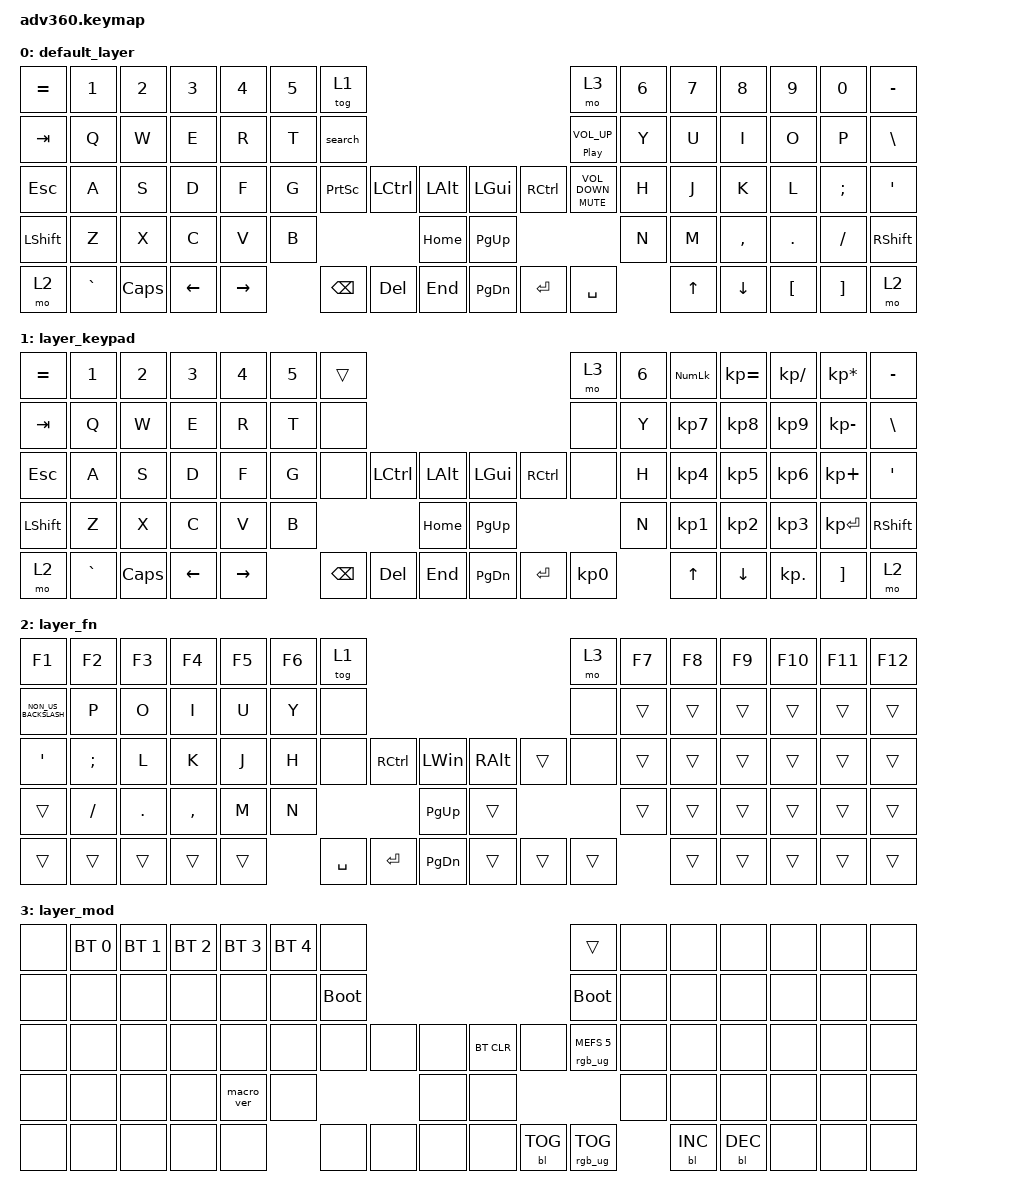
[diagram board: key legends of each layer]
/*
 * Copyright (c) 2020 The ZMK Contributors
 *
 * SPDX-License-Identifier: MIT
 */
/* THIS FILE WAS GENERATED!
 *
 * This file was generated automatically. You may or may not want to
 * edit it directly.
 */

#include <behaviors.dtsi>
#include <dt-bindings/zmk/backlight.h>
#include <dt-bindings/zmk/bt.h>
#include <dt-bindings/zmk/keys.h>
#include <dt-bindings/zmk/keys.h>
#include <dt-bindings/zmk/rgb.h>

/ {
    behaviors {
        #include "macros.dtsi"
    #include "version.dtsi"

        hm: homerow_mods {
            compatible = "zmk,behavior-hold-tap";
            label = "HOMEROW_MODS";
            #binding-cells = <2>;
            tapping-term-ms = <200>;
            quick_tap_ms = <175>;
            flavor = "tap-preferred";
            bindings = <&kp>, <&kp>;
        };

        mtl: moment_toggle {
            compatible = "zmk,behavior-hold-tap";
            label = "MOMENT_TOGGLE";
            bindings = <&mo>, <&tog>;

            #binding-cells = <2>;
            tapping-term-ms = <200>;
            flavor = "balanced";
        };
    };

    macros {
        search: search {
            compatible = "zmk,behavior-macro";
            #binding-cells = <0>;
            bindings = <&kt LCTRL &kt LEFT_WIN &kp GRAVE &kt LCTRL &kt LEFT_WIN>;
            label = "SEARCH";
        };
    };

    keymap {
        compatible = "zmk,keymap";

        default_layer {
            bindings = <
&kp EQUAL  &kp N1     &kp N2    &kp N3    &kp N4     &kp N5  &tog 1                                                          &mo 3                         &kp N6  &kp N7  &kp N8     &kp N9    &kp N0    &kp MINUS
&kp TAB    &kp Q      &kp W     &kp E     &kp R      &kp T   &search                                                         &hm C_PLAY_PAUSE C_VOLUME_UP  &kp Y   &kp U   &kp I      &kp O     &kp P     &kp BSLH
&kp ESC    &kp A      &kp S     &kp D     &kp F      &kp G   &kp PRINTSCREEN  &kp LCTRL  &kp LALT      &kp LGUI   &kp RCTRL  &hm C_MUTE C_VOLUME_DOWN      &kp H   &kp J   &kp K      &kp L     &kp SEMI  &kp SQT
&kp LSHFT  &kp Z      &kp X     &kp C     &kp V      &kp B                               &kp HOME      &kp PG_UP                                           &kp N   &kp M   &kp COMMA  &kp DOT   &kp FSLH  &kp RSHFT
&mo 2      &kp GRAVE  &kp CAPS  &kp LEFT  &kp RIGHT          &kp BSPC         &kp DEL    &kp END       &kp PG_DN  &kp ENTER  &kp SPACE                             &kp UP  &kp DOWN   &kp LBKT  &kp RBKT  &mo 2
            >;
        };

        layer_keypad {
            bindings = <
&kp EQUAL  &kp N1     &kp N2    &kp N3    &kp N4     &kp N5  &trans                                                   &mo 3      &kp N6  &kp KP_NUM  &kp KP_EQUAL  &kp KP_DIVIDE  &kp KP_MULTIPLY  &kp MINUS
&kp TAB    &kp Q      &kp W     &kp E     &kp R      &kp T   &none                                                    &none      &kp Y   &kp KP_N7   &kp KP_N8     &kp KP_N9      &kp KP_MINUS     &kp BSLH
&kp ESC    &kp A      &kp S     &kp D     &kp F      &kp G   &none     &kp LCTRL  &kp LALT      &kp LGUI   &kp RCTRL  &none      &kp H   &kp KP_N4   &kp KP_N5     &kp KP_N6      &kp KP_PLUS      &kp SQT
&kp LSHFT  &kp Z      &kp X     &kp C     &kp V      &kp B                        &kp HOME      &kp PG_UP                        &kp N   &kp KP_N1   &kp KP_N2     &kp KP_N3      &kp KP_ENTER     &kp RSHFT
&mo 2      &kp GRAVE  &kp CAPS  &kp LEFT  &kp RIGHT          &kp BSPC  &kp DEL    &kp END       &kp PG_DN  &kp ENTER  &kp KP_N0          &kp UP      &kp DOWN      &kp KP_DOT     &kp RBKT         &mo 2
            >;
        };

        layer_fn {
            bindings = <
&kp F1                &kp F2         &kp F3      &kp F4     &kp F5  &kp F6  &tog 1                                                          &mo 3   &kp F7  &kp F8  &kp F9  &kp F10  &kp F11  &kp F12
&kp NON_US_BACKSLASH  &kp P          &kp O       &kp I      &kp U   &kp Y   &none                                                           &none   &trans  &trans  &trans  &trans   &trans   &trans
&kp SQT               &kp SEMICOLON  &kp L       &kp K      &kp J   &kp H   &none      &kp RCTRL  &kp LEFT_WIN       &kp RIGHT_ALT  &trans  &none   &trans  &trans  &trans  &trans   &trans   &trans
&trans                &kp SLASH      &kp PERIOD  &kp COMMA  &kp M   &kp N                         &kp PAGE_UP        &trans                         &trans  &trans  &trans  &trans   &trans   &trans
&trans                &trans         &trans      &trans     &trans          &kp SPACE  &kp ENTER  &kp PAGE_DOWN      &trans         &trans  &trans          &trans  &trans  &trans   &trans   &trans
            >;
        };

        layer_mod {
            bindings = <
&none  &bt BT_SEL 0  &bt BT_SEL 1  &bt BT_SEL 2  &bt BT_SEL 3  &bt BT_SEL 4  &none                                                  &trans                  &none  &none       &none       &none  &none  &none
&none  &none         &none         &none         &none         &none         &bootloader                                            &bootloader             &none  &none       &none       &none  &none  &none
&none  &none         &none         &none         &none         &none         &none        &none  &none      &bt BT_CLR  &none       &rgb_ug RGB_MEFS_CMD 5  &none  &none       &none       &none  &none  &none
&none  &none         &none         &none         &macro_ver    &none                             &none      &none                                           &none  &none       &none       &none  &none  &none
&none  &none         &none         &none         &none                       &none        &none  &none      &none       &bl BL_TOG  &rgb_ug RGB_TOG                &bl BL_INC  &bl BL_DEC  &none  &none  &none
            >;
        };
    };
};
